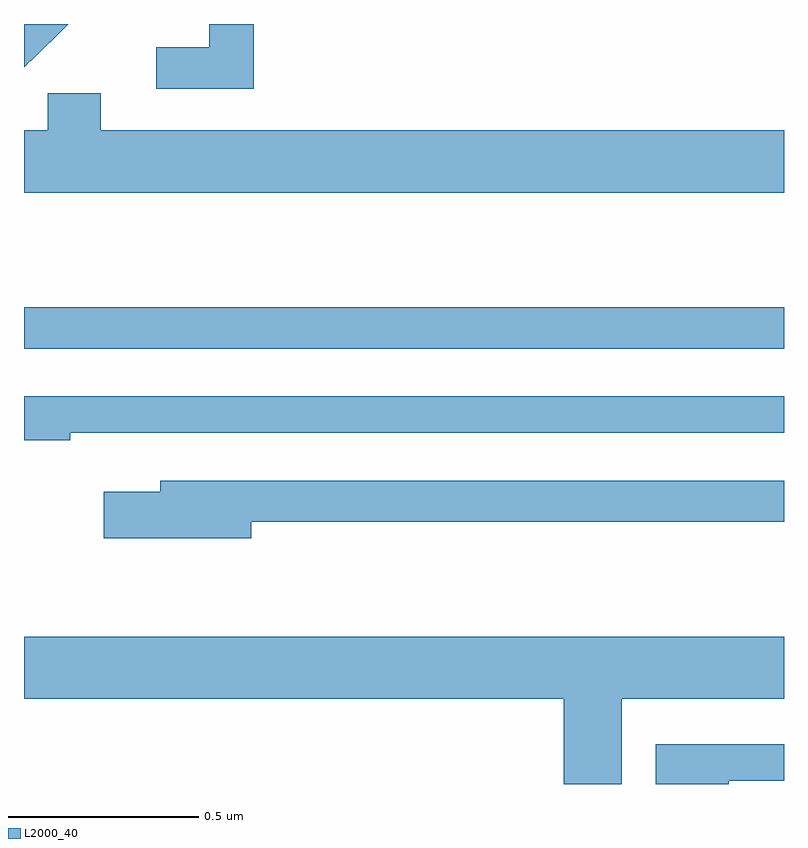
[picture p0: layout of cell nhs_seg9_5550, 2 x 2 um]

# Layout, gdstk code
import gdstk
lib = gdstk.Library(unit=1e-6, precision=1e-09)
def R(c, l, rs):  # rectangles x0, y0, x1, y1
    for r in rs: c.add(gdstk.rectangle(r[:2], r[2:], *l))
def P(c, l, *ps):  # polygons
    for p in ps: c.add(gdstk.Polygon(p, *l))
L2000_40 = (2000, 40)

nhs_seg9_5550 = lib.new_cell('nhs_seg9_5550')
R(nhs_seg9_5550, L2000_40, [(180,1226.646,182,1226.755)])
P(nhs_seg9_5550, L2000_40, [(180.017,1227.403),(180.018,1227.402),(180.116,1227.5),(180,1227.5),(180,1227.386)],
  [(180.605,1227.5),(180.488,1227.5),(180.488,1227.439),(180.348,1227.439),(180.348,1227.33),(180.605,1227.33)],
  [(182,1227.22),(180.202,1227.22),(180.202,1227.318),(180.063,1227.318),(180.063,1227.22),(180,1227.22),(180,1227.056),(182,1227.056)],
  [(180.122,1226.424),(182,1226.424),(182,1226.52),(180,1226.52),(180,1226.404),(180.122,1226.404)],
  [(180.598,1226.19),(182,1226.19),(182,1226.298),(180.359,1226.298),(180.359,1226.269),(180.21,1226.269),(180.21,1226.147),(180.598,1226.147)],
  [(181.573,1225.724),(182,1225.724),(182,1225.888),(180,1225.888),(180,1225.724),(181.421,1225.724),(181.421,1225.5),(181.573,1225.5)],
  [(181.855,1225.509),(182,1225.509),(182,1225.605),(181.662,1225.605),(181.662,1225.5),(181.855,1225.5)])

lib.write_gds('nhs_seg9_5550.gds')
